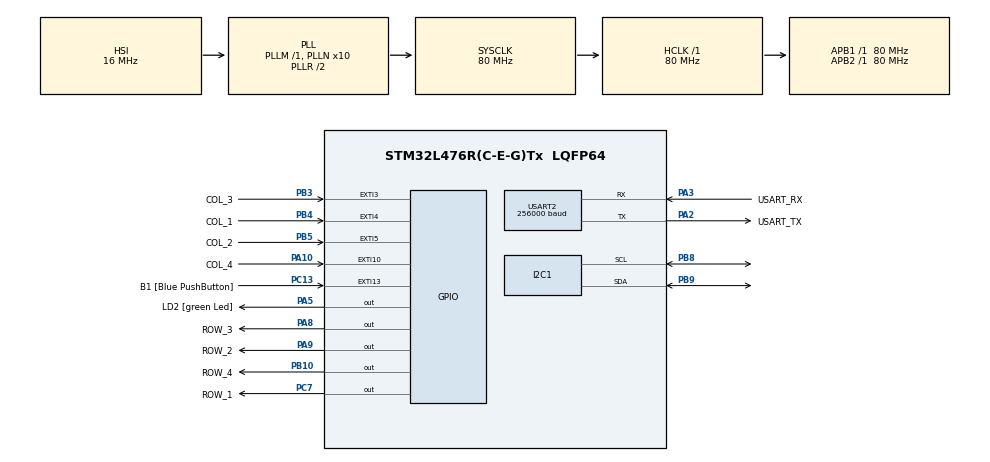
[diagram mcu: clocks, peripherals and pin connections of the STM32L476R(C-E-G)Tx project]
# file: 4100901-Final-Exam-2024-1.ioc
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I2C1.Timing=0x10909CEC
Mcu.Family=STM32L4
Mcu.Name=STM32L476R(C-E-G)Tx
Mcu.Package=LQFP64
NVIC.EXTI15_10_IRQn=true\:0\:0\:false\:false\:true\:true\:true\:true
NVIC.EXTI3_IRQn=true\:0\:0\:false\:false\:true\:true\:true\:true
NVIC.EXTI4_IRQn=true\:0\:0\:false\:false\:true\:true\:true\:true
NVIC.EXTI9_5_IRQn=true\:0\:0\:false\:false\:true\:true\:true\:true
NVIC.PriorityGroup=NVIC_PRIORITYGROUP_4
NVIC.USART2_IRQn=true\:0\:0\:false\:false\:true\:true\:true\:true
PA10.GPIO_Label=COL_4
PA10.GPIO_ModeDefaultEXTI=GPIO_MODE_IT_RISING
PA10.GPIO_PuPd=GPIO_PULLDOWN
PA10.Signal=GPXTI10
PA13\ (JTMS-SWDIO).GPIO_Label=TMS
PA13\ (JTMS-SWDIO).Mode=Serial_Wire
PA13\ (JTMS-SWDIO).Signal=SYS_JTMS-SWDIO
PA14\ (JTCK-SWCLK).GPIO_Label=TCK
PA14\ (JTCK-SWCLK).Mode=Serial_Wire
PA14\ (JTCK-SWCLK).Signal=SYS_JTCK-SWCLK
PA2.GPIO_Label=USART_TX
PA2.GPIO_Mode=GPIO_MODE_AF_PP
PA2.GPIO_PuPd=GPIO_NOPULL
PA2.GPIO_Speed=GPIO_SPEED_FREQ_VERY_HIGH
PA2.Mode=Asynchronous
PA2.Signal=USART2_TX
PA3.GPIO_Label=USART_RX
PA3.GPIO_Mode=GPIO_MODE_AF_PP
PA3.GPIO_PuPd=GPIO_NOPULL
PA3.GPIO_Speed=GPIO_SPEED_FREQ_VERY_HIGH
PA3.Mode=Asynchronous
PA3.Signal=USART2_RX
PA5.GPIO_Label=LD2 [green Led]
PA5.GPIO_ModeDefaultOutputPP=GPIO_MODE_OUTPUT_PP
PA5.GPIO_PuPd=GPIO_NOPULL
PA5.GPIO_Speed=GPIO_SPEED_FREQ_LOW
PA5.Signal=GPIO_Output
PA8.GPIO_Label=ROW_3
PA8.GPIO_ModeDefaultOutputPP=GPIO_MODE_OUTPUT_PP
PA8.GPIO_Speed=GPIO_SPEED_FREQ_VERY_HIGH
PA8.PinState=GPIO_PIN_SET
PA8.Signal=GPIO_Output
PA9.GPIO_Label=ROW_2
PA9.GPIO_ModeDefaultOutputPP=GPIO_MODE_OUTPUT_PP
PA9.GPIO_Speed=GPIO_SPEED_FREQ_VERY_HIGH
PA9.PinState=GPIO_PIN_SET
PA9.Signal=GPIO_Output
PB10.GPIO_Label=ROW_4
PB10.GPIO_ModeDefaultOutputPP=GPIO_MODE_OUTPUT_PP
PB10.GPIO_Speed=GPIO_SPEED_FREQ_VERY_HIGH
PB10.PinState=GPIO_PIN_SET
PB10.Signal=GPIO_Output
PB3\ (JTDO-TRACESWO).GPIO_Label=COL_3
PB3\ (JTDO-TRACESWO).GPIO_ModeDefaultEXTI=GPIO_MODE_IT_RISING
PB3\ (JTDO-TRACESWO).GPIO_PuPd=GPIO_PULLDOWN
PB3\ (JTDO-TRACESWO).Signal=GPXTI3
PB4\ (NJTRST).GPIO_Label=COL_1
PB4\ (NJTRST).GPIO_ModeDefaultEXTI=GPIO_MODE_IT_RISING
PB4\ (NJTRST).GPIO_PuPd=GPIO_PULLDOWN
PB4\ (NJTRST).Signal=GPXTI4
PB5.GPIO_Label=COL_2
PB5.GPIO_ModeDefaultEXTI=GPIO_MODE_IT_RISING
PB5.GPIO_PuPd=GPIO_PULLDOWN
PB5.Signal=GPXTI5
PB8.Mode=I2C
PB8.Signal=I2C1_SCL
PB9.Mode=I2C
PB9.Signal=I2C1_SDA
PC13.GPIO_Label=B1 [Blue PushButton]
PC13.GPIO_ModeDefaultEXTI=GPIO_MODE_IT_FALLING
PC13.GPIO_PuPd=GPIO_NOPULL
PC13.Signal=GPXTI13
PC14-OSC32_IN\ (PC14).Mode=LSE-External-Oscillator
PC14-OSC32_IN\ (PC14).Signal=RCC_OSC32_IN
PC15-OSC32_OUT\ (PC15).Mode=LSE-External-Oscillator
PC15-OSC32_OUT\ (PC15).Signal=RCC_OSC32_OUT
PC7.GPIO_Label=ROW_1
PC7.GPIO_ModeDefaultOutputPP=GPIO_MODE_OUTPUT_PP
PC7.GPIO_Speed=GPIO_SPEED_FREQ_VERY_HIGH
PC7.PinState=GPIO_PIN_SET
PC7.Signal=GPIO_Output
PH0-OSC_IN\ (PH0).Signal=RCC_OSC_IN
PH1-OSC_OUT\ (PH1).Signal=RCC_OSC_OUT
ProjectManager.HeapSize=0x200
ProjectManager.StackSize=0x400
ProjectManager.TargetToolchain=STM32CubeIDE
RCC.ADCFreq_Value=64000000
RCC.AHBFreq_Value=80000000
RCC.APB1Freq_Value=80000000
RCC.APB1TimFreq_Value=80000000
RCC.APB2Freq_Value=80000000
RCC.APB2TimFreq_Value=80000000
RCC.CortexFreq_Value=80000000
RCC.HCLKFreq_Value=80000000
RCC.HSE_VALUE=8000000
RCC.HSI_VALUE=16000000
RCC.MSI_VALUE=4000000
RCC.PLLN=10
RCC.PLLSourceVirtual=RCC_PLLSOURCE_HSI
RCC.PREFETCH_ENABLE=1
RCC.SYSCLKFreq_VALUE=80000000
RCC.SYSCLKSource=RCC_SYSCLKSOURCE_PLLCLK
RCC.USBFreq_Value=64000000
RCC.VCOOutputFreq_Value=160000000
USART2.BaudRate=256000
USART2.VirtualMode-Asynchronous=VM_ASYNC
board=NUCLEO-L476RG

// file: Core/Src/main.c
/* USER CODE BEGIN Header */
/**
  ******************************************************************************
  * @file           : main.c
  * @brief          : Main program body
  ******************************************************************************
  * @attention
  *
  * Copyright (c) 2024 STMicroelectronics.
  * All rights reserved.
  *
  * This software is licensed under terms that can be found in the LICENSE file
  * in the root directory of this software component.
  * If no LICENSE file comes with this software, it is provided AS-IS.
  *
  ******************************************************************************
  */
/* USER CODE END Header */
#include "main.h"

/* USER CODE BEGIN Includes */
#include <stdio.h>
#include <math.h>

#include "ssd1306.h"
#include "ssd1306_fonts.h"

#include "ring_buffer.h"
#include "keypad.h"
/* USER CODE END Includes */

I2C_HandleTypeDef hi2c1;

UART_HandleTypeDef huart2;

/* USER CODE BEGIN PV */
#define KEYPAD_RB_LEN 4
uint8_t keypad_data = 0xFF;
uint8_t keypad_buffer[KEYPAD_RB_LEN];
ring_buffer_t keypad_rb;

#define USART2_RB_LEN 6
uint8_t usart2_data = 0xFF;
uint8_t usart2_buffer[USART2_RB_LEN];
ring_buffer_t usart2_rb;

volatile uint8_t b1_pressed = 0;
/* USER CODE END PV */

void SystemClock_Config(void);
static void MX_GPIO_Init(void);
static void MX_USART2_UART_Init(void);
static void MX_I2C1_Init(void);

/* USER CODE BEGIN 0 */
int _write(int file, char *ptr, int len)
{
  HAL_UART_Transmit(&huart2, (uint8_t *)ptr, len, 10);
  return len;
}

void HAL_UART_RxCpltCallback(UART_HandleTypeDef *huart)
{
	/* Data received in USART2 */
	if (huart->Instance == USART2) {
		if (usart2_data >= '0' && usart2_data <= '9') {
			ring_buffer_write(&usart2_rb, usart2_data);
			if (ring_buffer_is_full(&keypad_rb) != 0) {

			}
		}
		HAL_UART_Receive_IT(&huart2, &usart2_data, 1);
	}
}

void HAL_GPIO_EXTI_Callback(uint16_t GPIO_Pin)
{
	if (GPIO_Pin == B1_Pin) {
		b1_pressed = 1;
		return;
	}
	uint8_t key_pressed = keypad_scan(GPIO_Pin);
	if (key_pressed != 0xFF) {
		if (key_pressed == '#') {
			ring_buffer_reset(&usart2_rb);
		} else if (key_pressed == '*') {
			ring_buffer_reset(&keypad_rb);
		} else {
			ring_buffer_write(&keypad_rb, key_pressed);
		}
		if (ring_buffer_is_full(&keypad_rb) != 0) {

		}
		keypad_data = key_pressed;
	}
}
/* USER CODE END 0 */

int main(void)
{

  /* MCU Configuration--------------------------------------------------------*/

  /* Reset of all peripherals, Initializes the Flash interface and the Systick. */
  HAL_Init();

  /* Configure the system clock */
  SystemClock_Config();

  /* Initialize all configured peripherals */
  MX_GPIO_Init();
  MX_USART2_UART_Init();
  MX_I2C1_Init();
  /* USER CODE BEGIN 2 */
  ssd1306_Init();
  ssd1306_Fill(Black);
  ssd1306_UpdateScreen();

  ring_buffer_init(&usart2_rb, usart2_buffer, USART2_RB_LEN);
  ring_buffer_init(&keypad_rb, keypad_buffer, KEYPAD_RB_LEN);
  HAL_UART_Receive_IT(&huart2, &usart2_data, 1);
  /* USER CODE END 2 */

  /* Infinite loop */
  /* USER CODE BEGIN WHILE */
  printf("Starting\r\n");
  while (1)
  {
		if (keypad_data != 0xFF) {
			ssd1306_SetCursor(20, 20);
			ssd1306_WriteString(&keypad_data, Font_11x18, White);
			ssd1306_UpdateScreen();
			keypad_data = 0xFF;
		}
		if (usart2_data != 0xFF) {
			ssd1306_SetCursor(20, 40);
			ssd1306_WriteString(&usart2_data, Font_11x18, White);
			ssd1306_UpdateScreen();
			usart2_data = 0xFF;
		}

		if (b1_pressed != 0) {
			uint32_t usart2_value = 0;
			uint32_t keypad_value = 0;
			uint8_t digit = 0;
			while (ring_buffer_is_empty(&usart2_rb) == 0) {
				ring_buffer_read(&usart2_rb, &digit);
				usart2_value += (digit - '0') * pow(10, ring_buffer_size(&usart2_rb));
			}
			while (ring_buffer_is_empty(&keypad_rb) == 0) {
				ring_buffer_read(&keypad_rb, &digit);
				keypad_value += (digit - '0') * pow(10, ring_buffer_size(&keypad_rb));
			}
			uint32_t sum = usart2_value + keypad_value;
			if ((sum % 2) == 0) { // par
				HAL_GPIO_WritePin(LD2_GPIO_Port, LD2_Pin, 1);
			} else { // impar
				HAL_GPIO_WritePin(LD2_GPIO_Port, LD2_Pin, 0);
			}
			char sum_str[10];
			sprintf(sum_str, "%d", sum);
			printf("%ld - %ld = %s\r\n", usart2_value, keypad_value, sum_str);

			ssd1306_Fill(Black);
			ssd1306_SetCursor(30, 30);
			ssd1306_WriteString(sum_str, Font_11x18, White);
			ssd1306_UpdateScreen();
			b1_pressed = 0;
		}
    /* USER CODE END WHILE */

  }
}

void SystemClock_Config(void)
{
  RCC_OscInitTypeDef RCC_OscInitStruct = {0};
  RCC_ClkInitTypeDef RCC_ClkInitStruct = {0};

  /** Configure the main internal regulator output voltage
  */
  if (HAL_PWREx_ControlVoltageScaling(PWR_REGULATOR_VOLTAGE_SCALE1) != HAL_OK)
  {
    Error_Handler();
  }

  /** Initializes the RCC Oscillators according to the specified parameters
  * in the RCC_OscInitTypeDef structure.
  */
  RCC_OscInitStruct.OscillatorType = RCC_OSCILLATORTYPE_HSI;
  RCC_OscInitStruct.HSIState = RCC_HSI_ON;
  RCC_OscInitStruct.HSICalibrationValue = RCC_HSICALIBRATION_DEFAULT;
  RCC_OscInitStruct.PLL.PLLState = RCC_PLL_ON;
  RCC_OscInitStruct.PLL.PLLSource = RCC_PLLSOURCE_HSI;
  RCC_OscInitStruct.PLL.PLLM = 1;
  RCC_OscInitStruct.PLL.PLLN = 10;
  RCC_OscInitStruct.PLL.PLLP = RCC_PLLP_DIV7;
  RCC_OscInitStruct.PLL.PLLQ = RCC_PLLQ_DIV2;
  RCC_OscInitStruct.PLL.PLLR = RCC_PLLR_DIV2;
  if (HAL_RCC_OscConfig(&RCC_OscInitStruct) != HAL_OK)
  {
    Error_Handler();
  }

  /** Initializes the CPU, AHB and APB buses clocks
  */
  RCC_ClkInitStruct.ClockType = RCC_CLOCKTYPE_HCLK|RCC_CLOCKTYPE_SYSCLK
                              |RCC_CLOCKTYPE_PCLK1|RCC_CLOCKTYPE_PCLK2;
  RCC_ClkInitStruct.SYSCLKSource = RCC_SYSCLKSOURCE_PLLCLK;
  RCC_ClkInitStruct.AHBCLKDivider = RCC_SYSCLK_DIV1;
  RCC_ClkInitStruct.APB1CLKDivider = RCC_HCLK_DIV1;
  RCC_ClkInitStruct.APB2CLKDivider = RCC_HCLK_DIV1;

  if (HAL_RCC_ClockConfig(&RCC_ClkInitStruct, FLASH_LATENCY_4) != HAL_OK)
  {
    Error_Handler();
  }
}

static void MX_I2C1_Init(void)
{

  hi2c1.Instance = I2C1;
  hi2c1.Init.Timing = 0x10909CEC;
  hi2c1.Init.OwnAddress1 = 0;
  hi2c1.Init.AddressingMode = I2C_ADDRESSINGMODE_7BIT;
  hi2c1.Init.DualAddressMode = I2C_DUALADDRESS_DISABLE;
  hi2c1.Init.OwnAddress2 = 0;
  hi2c1.Init.OwnAddress2Masks = I2C_OA2_NOMASK;
  hi2c1.Init.GeneralCallMode = I2C_GENERALCALL_DISABLE;
  hi2c1.Init.NoStretchMode = I2C_NOSTRETCH_DISABLE;
  if (HAL_I2C_Init(&hi2c1) != HAL_OK)
  {
    Error_Handler();
  }

  /** Configure Analogue filter
  */
  if (HAL_I2CEx_ConfigAnalogFilter(&hi2c1, I2C_ANALOGFILTER_ENABLE) != HAL_OK)
  {
    Error_Handler();
  }

  /** Configure Digital filter
  */
  if (HAL_I2CEx_ConfigDigitalFilter(&hi2c1, 0) != HAL_OK)
  {
    Error_Handler();
  }

}

static void MX_USART2_UART_Init(void)
{

  huart2.Instance = USART2;
  huart2.Init.BaudRate = 256000;
  huart2.Init.WordLength = UART_WORDLENGTH_8B;
  huart2.Init.StopBits = UART_STOPBITS_1;
  huart2.Init.Parity = UART_PARITY_NONE;
  huart2.Init.Mode = UART_MODE_TX_RX;
  huart2.Init.HwFlowCtl = UART_HWCONTROL_NONE;
  huart2.Init.OverSampling = UART_OVERSAMPLING_16;
  huart2.Init.OneBitSampling = UART_ONE_BIT_SAMPLE_DISABLE;
  huart2.AdvancedInit.AdvFeatureInit = UART_ADVFEATURE_NO_INIT;
  if (HAL_UART_Init(&huart2) != HAL_OK)
  {
    Error_Handler();
  }

}

static void MX_GPIO_Init(void)
{
  GPIO_InitTypeDef GPIO_InitStruct = {0};

  /* GPIO Ports Clock Enable */
  __HAL_RCC_GPIOC_CLK_ENABLE();
  __HAL_RCC_GPIOH_CLK_ENABLE();
  __HAL_RCC_GPIOA_CLK_ENABLE();
  __HAL_RCC_GPIOB_CLK_ENABLE();

  /*Configure GPIO pin Output Level */
  HAL_GPIO_WritePin(LD2_GPIO_Port, LD2_Pin, GPIO_PIN_RESET);

  /*Configure GPIO pin Output Level */
  HAL_GPIO_WritePin(ROW_4_GPIO_Port, ROW_4_Pin, GPIO_PIN_SET);

  /*Configure GPIO pin Output Level */
  HAL_GPIO_WritePin(ROW_1_GPIO_Port, ROW_1_Pin, GPIO_PIN_SET);

  /*Configure GPIO pin Output Level */
  HAL_GPIO_WritePin(GPIOA, ROW_3_Pin|ROW_2_Pin, GPIO_PIN_SET);

  /*Configure GPIO pin : B1_Pin */
  GPIO_InitStruct.Pin = B1_Pin;
  GPIO_InitStruct.Mode = GPIO_MODE_IT_FALLING;
  GPIO_InitStruct.Pull = GPIO_NOPULL;
  HAL_GPIO_Init(B1_GPIO_Port, &GPIO_InitStruct);

  /*Configure GPIO pin : LD2_Pin */
  GPIO_InitStruct.Pin = LD2_Pin;
  GPIO_InitStruct.Mode = GPIO_MODE_OUTPUT_PP;
  GPIO_InitStruct.Pull = GPIO_NOPULL;
  GPIO_InitStruct.Speed = GPIO_SPEED_FREQ_LOW;
  HAL_GPIO_Init(LD2_GPIO_Port, &GPIO_InitStruct);

  /*Configure GPIO pin : ROW_4_Pin */
  GPIO_InitStruct.Pin = ROW_4_Pin;
  GPIO_InitStruct.Mode = GPIO_MODE_OUTPUT_PP;
  GPIO_InitStruct.Pull = GPIO_NOPULL;
  GPIO_InitStruct.Speed = GPIO_SPEED_FREQ_VERY_HIGH;
  HAL_GPIO_Init(ROW_4_GPIO_Port, &GPIO_InitStruct);

  /*Configure GPIO pin : ROW_1_Pin */
  GPIO_InitStruct.Pin = ROW_1_Pin;
  GPIO_InitStruct.Mode = GPIO_MODE_OUTPUT_PP;
  GPIO_InitStruct.Pull = GPIO_NOPULL;
  GPIO_InitStruct.Speed = GPIO_SPEED_FREQ_VERY_HIGH;
  HAL_GPIO_Init(ROW_1_GPIO_Port, &GPIO_InitStruct);

  /*Configure GPIO pins : ROW_3_Pin ROW_2_Pin */
  GPIO_InitStruct.Pin = ROW_3_Pin|ROW_2_Pin;
  GPIO_InitStruct.Mode = GPIO_MODE_OUTPUT_PP;
  GPIO_InitStruct.Pull = GPIO_NOPULL;
  GPIO_InitStruct.Speed = GPIO_SPEED_FREQ_VERY_HIGH;
  HAL_GPIO_Init(GPIOA, &GPIO_InitStruct);

  /*Configure GPIO pin : COL_4_Pin */
  GPIO_InitStruct.Pin = COL_4_Pin;
  GPIO_InitStruct.Mode = GPIO_MODE_IT_RISING;
  GPIO_InitStruct.Pull = GPIO_PULLDOWN;
  HAL_GPIO_Init(COL_4_GPIO_Port, &GPIO_InitStruct);

  /*Configure GPIO pins : COL_3_Pin COL_1_Pin COL_2_Pin */
  GPIO_InitStruct.Pin = COL_3_Pin|COL_1_Pin|COL_2_Pin;
  GPIO_InitStruct.Mode = GPIO_MODE_IT_RISING;
  GPIO_InitStruct.Pull = GPIO_PULLDOWN;
  HAL_GPIO_Init(GPIOB, &GPIO_InitStruct);

  /* EXTI interrupt init*/
  HAL_NVIC_SetPriority(EXTI3_IRQn, 0, 0);
  HAL_NVIC_EnableIRQ(EXTI3_IRQn);

  HAL_NVIC_SetPriority(EXTI4_IRQn, 0, 0);
  HAL_NVIC_EnableIRQ(EXTI4_IRQn);

  HAL_NVIC_SetPriority(EXTI9_5_IRQn, 0, 0);
  HAL_NVIC_EnableIRQ(EXTI9_5_IRQn);

  HAL_NVIC_SetPriority(EXTI15_10_IRQn, 0, 0);
  HAL_NVIC_EnableIRQ(EXTI15_10_IRQn);

}

void Error_Handler(void)
{
  __disable_irq();
  while (1)
  {
  }
}
